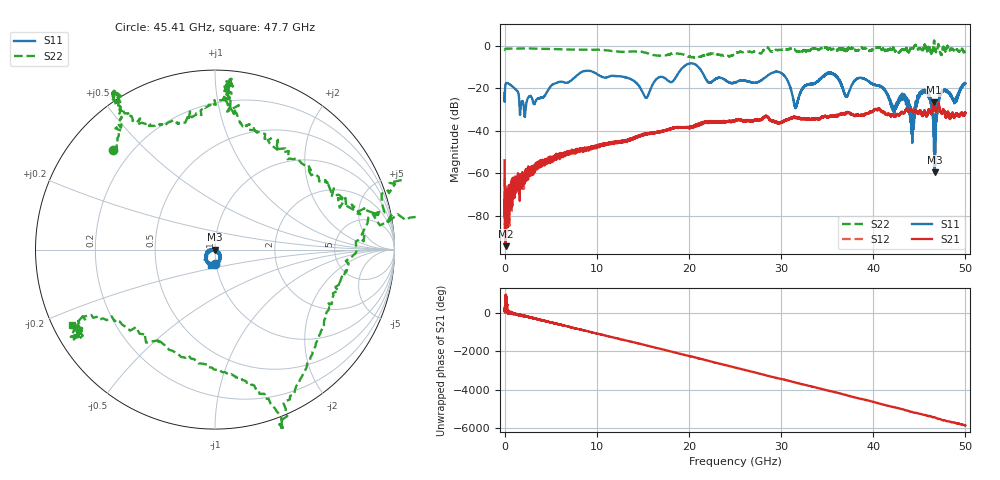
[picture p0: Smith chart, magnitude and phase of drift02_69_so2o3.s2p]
!Created with skrf (http://scikit-rf.org).
# Hz S RI R 50.0
!freq ReS11 ImS11 ReS21 ImS21 ReS12 ImS12 ReS22 ImS22
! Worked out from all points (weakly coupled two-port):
!   10001 points, 300 kHz to 50 GHz, reference 50 ohm
!   highest |S21| = -26.67 dB at 46.61 GHz (marker M1); lowest = -94.4 dB at 115.3 MHz (marker M2)
!   lowest |S11| = -59.7 dB at 46.67 GHz (marker M3), VSWR 1.00, Z = 50 - j0.102 ohm
!   |S11| at or under -10 dB: start of sweep to 19.43 GHz; 21.01 GHz to end of sweep
!   |S22| runs from -5.7 to 2.4 dB; largest |S21 - S12| = 0.0038
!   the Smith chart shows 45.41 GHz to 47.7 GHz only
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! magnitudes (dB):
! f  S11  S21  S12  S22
! 300 kHz  -22.3  -54.0  -62.6  -2.1
! 115.3 MHz  -18.1  -94.4  -71.8  -1.5
! 2.19 GHz  -33.6  -61.4  -62.2  -1.3
! 8.335 GHz  -12.5  -49.1  -49.3  -1.9
! 15.34 GHz  -24.6  -41.5  -41.3  -3.4
! 16.67 GHz  -15.1  -40.8  -40.7  -4.7
! 20.29 GHz  -8.4  -38.3  -38.3  -5.5
! 25 GHz  -17.4  -35.4  -35.3  -3.9
! 29.85 GHz  -12.6  -36.2  -36.5  -2.0
! 31.59 GHz  -29.1  -33.8  -34.1  -2.4
! 33.34 GHz  -18.0  -34.5  -34.4  -1.5
! 35.52 GHz  -13.1  -33.3  -33.2  -1.7
! 37.1 GHz  -23.9  -31.8  -31.8  -2.3
! 38.78 GHz  -15.3  -32.9  -32.6  -1.0
! 41.67 GHz  -24.2  -32.2  -32.3  -1.9
! 43.43 GHz  -24.0  -31.0  -31.2  -1.9
! 44.27 GHz  -35.3  -31.2  -31.3  -1.4
! 45.7 GHz  -21.5  -32.4  -32.4  -0.6
! 46.61 GHz  -49.8  -26.7  -27.1  2.3
! 46.67 GHz  -59.7  -29.0  -28.6  0.3
! 47.47 GHz  -21.8  -31.6  -31.9  -3.3
! 50 GHz  -17.9  -31.6  -31.6  -2.8
